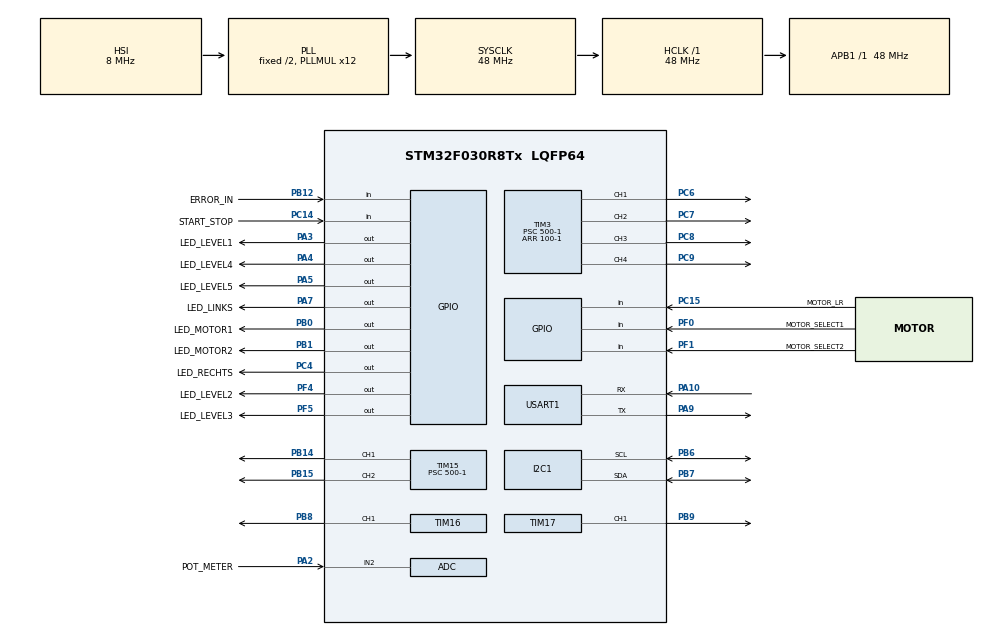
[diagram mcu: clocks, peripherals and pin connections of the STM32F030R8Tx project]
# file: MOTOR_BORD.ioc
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ADC.Resolution=ADC_RESOLUTION_8B
Mcu.Family=STM32F0
Mcu.Name=STM32F030R8Tx
Mcu.Package=LQFP64
PA10.Mode=Asynchronous
PA10.Signal=USART1_RX
PA13.Mode=Serial_Wire
PA13.Signal=SYS_SWDIO
PA14.Mode=Serial_Wire
PA14.Signal=SYS_SWCLK
PA2.GPIO_Label=POT_METER
PA2.Mode=IN2
PA2.Signal=ADC_IN2
PA3.GPIO_Label=LED_LEVEL1
PA3.Signal=GPIO_Output
PA4.GPIO_Label=LED_LEVEL4
PA4.Signal=GPIO_Output
PA5.GPIO_Label=LED_LEVEL5
PA5.Signal=GPIO_Output
PA7.GPIO_Label=LED_LINKS
PA7.Signal=GPIO_Output
PA9.Mode=Asynchronous
PA9.Signal=USART1_TX
PB0.GPIO_Label=LED_MOTOR1
PB0.Signal=GPIO_Output
PB1.GPIO_Label=LED_MOTOR2
PB1.Signal=GPIO_Output
PB12.GPIO_Label=ERROR_IN
PB12.Signal=GPIO_Input
PB14.Signal=S_TIM15_CH1
PB15.Signal=S_TIM15_CH2
PB6.Mode=I2C
PB6.Signal=I2C1_SCL
PB7.Mode=I2C
PB7.Signal=I2C1_SDA
PB8.Signal=S_TIM16_CH1
PB9.Signal=S_TIM17_CH1
PC14-OSC32_IN.GPIO_Label=START_STOP
PC14-OSC32_IN.Signal=GPIO_Input
PC15-OSC32_OUT.GPIO_Label=MOTOR_LR
PC15-OSC32_OUT.Signal=GPIO_Input
PC4.GPIO_Label=LED_RECHTS
PC4.Signal=GPIO_Output
PC6.Signal=S_TIM3_CH1
PC7.Signal=S_TIM3_CH2
PC8.Signal=S_TIM3_CH3
PC9.Signal=S_TIM3_CH4
PF0-OSC_IN.GPIO_Label=MOTOR_SELECT1
PF0-OSC_IN.Signal=GPIO_Input
PF1-OSC_OUT.GPIO_Label=MOTOR_SELECT2
PF1-OSC_OUT.Signal=GPIO_Input
PF4.GPIO_Label=LED_LEVEL2
PF4.Signal=GPIO_Output
PF5.GPIO_Label=LED_LEVEL3
PF5.Signal=GPIO_Output
ProjectManager.HeapSize=0x200
ProjectManager.StackSize=0x400
ProjectManager.TargetToolchain=STM32CubeIDE
RCC.AHBFreq_Value=48000000
RCC.APB1Freq_Value=48000000
RCC.APB1TimFreq_Value=48000000
RCC.HCLKFreq_Value=48000000
RCC.PLLMUL=RCC_PLL_MUL12
RCC.SYSCLKFreq_VALUE=48000000
RCC.SYSCLKSource=RCC_SYSCLKSOURCE_PLLCLK
SH.S_TIM15_CH1.0=TIM15_CH1,PWM Generation1 CH1
SH.S_TIM15_CH2.0=TIM15_CH2,PWM Generation2 CH2
SH.S_TIM16_CH1.0=TIM16_CH1,PWM Generation1 CH1
SH.S_TIM17_CH1.0=TIM17_CH1,PWM Generation1 CH1
SH.S_TIM3_CH1.0=TIM3_CH1,PWM Generation1 CH1
SH.S_TIM3_CH2.0=TIM3_CH2,PWM Generation2 CH2
SH.S_TIM3_CH3.0=TIM3_CH3,PWM Generation3 CH3
SH.S_TIM3_CH4.0=TIM3_CH4,PWM Generation4 CH4
TIM14.Period=0xffff-1
TIM14.Prescaler=1-1
TIM15.Channel-PWM\ Generation1\ CH1=TIM_CHANNEL_1
TIM15.Channel-PWM\ Generation2\ CH2=TIM_CHANNEL_2
TIM15.Period=100-1
TIM15.Prescaler=500-1
TIM16.Channel=TIM_CHANNEL_1
TIM16.Period=100-1
TIM16.Prescaler=500-1
TIM17.Channel=TIM_CHANNEL_1
TIM17.Period=100-1
TIM17.Prescaler=500-1
TIM3.Channel-PWM\ Generation1\ CH1=TIM_CHANNEL_1
TIM3.Channel-PWM\ Generation2\ CH2=TIM_CHANNEL_2
TIM3.Channel-PWM\ Generation3\ CH3=TIM_CHANNEL_3
TIM3.Channel-PWM\ Generation4\ CH4=TIM_CHANNEL_4
TIM3.Period=100-1
TIM3.Prescaler=500-1
USART1.VirtualMode-Asynchronous=VM_ASYNC
VP_TIM14_VS_ClockSourceINT.Mode=Enable_Timer
VP_TIM16_VS_ClockSourceINT.Mode=Enable_Timer
VP_TIM17_VS_ClockSourceINT.Mode=Enable_Timer
board=custom

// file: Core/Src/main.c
/* USER CODE BEGIN Header */
/**
 ******************************************************************************
 * @file           : main.c
 * @brief          : Main program body
 ******************************************************************************
 * @attention
 *
 * Copyright (c) 2024 STMicroelectronics.
 * All rights reserved.
 *
 * This software is licensed under terms that can be found in the LICENSE file
 * in the root directory of this software component.
 * If no LICENSE file comes with this software, it is provided AS-IS.
 *
 ******************************************************************************
 */
/* USER CODE END Header */
#include "main.h"

/* USER CODE BEGIN Includes */
#include <stdio.h>
#include "string.h"
#include "WVR/motor_bord.h"
#include "WVR/uart_msg.h"
/* USER CODE END Includes */

ADC_HandleTypeDef hadc;

I2C_HandleTypeDef hi2c1;

TIM_HandleTypeDef htim3;
TIM_HandleTypeDef htim14;
TIM_HandleTypeDef htim15;
TIM_HandleTypeDef htim16;
TIM_HandleTypeDef htim17;

UART_HandleTypeDef huart1;

void SystemClock_Config(void);
static void MX_GPIO_Init(void);
static void MX_ADC_Init(void);
static void MX_I2C1_Init(void);
static void MX_USART1_UART_Init(void);
static void MX_TIM3_Init(void);
static void MX_TIM15_Init(void);
static void MX_TIM14_Init(void);
static void MX_TIM16_Init(void);
static void MX_TIM17_Init(void);
/* USER CODE BEGIN PFP */
void usDelay(uint16_t);
/* USER CODE END PFP */

/* USER CODE BEGIN 0 */
//Variables
GPIO_PinState  startStop = 0;
GPIO_PinState  startStopPrev = 0;

GPIO_PinState  motorSelect1 = 0;
GPIO_PinState  motorSelect2 = 0;

GPIO_PinState motorDirection = 0;

uint32_t potValue = 0;

GPIO_PinState errorIn = 0;

char uartBuffer[100];
/* USER CODE END 0 */

int main(void)
{

  /* MCU Configuration--------------------------------------------------------*/

  /* Reset of all peripherals, Initializes the Flash interface and the Systick. */
  HAL_Init();

  /* Configure the system clock */
  SystemClock_Config();

  /* Initialize all configured peripherals */
  MX_GPIO_Init();
  MX_ADC_Init();
  MX_I2C1_Init();
  MX_USART1_UART_Init();
  MX_TIM3_Init();
  MX_TIM15_Init();
  MX_TIM14_Init();
  MX_TIM16_Init();
  MX_TIM17_Init();
  /* USER CODE BEGIN 2 */

	//double check this when you have the PCB's
	htim14.Init.Prescaler = 47;
	htim14.Init.CounterMode = TIM_COUNTERMODE_UP;
	htim14.Init.Period = 0xFFFF;  // Maximum period to avoid overflow for long delays
	HAL_TIM_Base_Init(&htim14);
	HAL_TIM_Base_Start(&htim14);  // Start Timer 6

	//print NMBS logo
	printLogoNMBS();

  /* USER CODE END 2 */

  /* Infinite loop */
	while (1)
	{

    /* USER CODE BEGIN 3 */

		//START STOP
		startStop = HAL_GPIO_ReadPin(START_STOP_GPIO_Port, START_STOP_Pin);

		ReadADCValue(&potValue);
		uint8_t potValuePercent = (uint8_t)(potValue / 2.56);

		motorDirection = HAL_GPIO_ReadPin(MOTOR_LR_GPIO_Port, MOTOR_LR_Pin);

		motorSelect1 = HAL_GPIO_ReadPin(MOTOR_SELECT1_GPIO_Port, MOTOR_SELECT1_Pin);
		motorSelect2 = HAL_GPIO_ReadPin(MOTOR_SELECT2_GPIO_Port, MOTOR_SELECT2_Pin);

		SetLevelLEDs((uint8_t)potValue);

		//start / stop
		if(startStop != startStopPrev){
			//Starting
			if(startStop){
				if(motorSelect2){
					//DC
					HAL_TIM_PWM_Start(&htim3, TIM_CHANNEL_1);
					HAL_TIM_PWM_Start(&htim3, TIM_CHANNEL_2);

					HAL_TIM_PWM_Start(&htim3, TIM_CHANNEL_3);
					HAL_TIM_PWM_Start(&htim3, TIM_CHANNEL_4);

					HAL_TIM_PWM_Start(&htim15, TIM_CHANNEL_1);
					HAL_TIM_PWM_Start(&htim15, TIM_CHANNEL_2);
				}
				else if(motorSelect1){
					//ASYNC
					HAL_TIM_PWM_Start(&htim3, TIM_CHANNEL_3);
					HAL_TIM_PWM_Start(&htim3, TIM_CHANNEL_4);

					usDelay(333);
					//HAL_TIM_PWM_Start(&htim3, TIM_CHANNEL_1);
					//HAL_TIM_PWM_Start(&htim3, TIM_CHANNEL_2);
					//FIX for 3 phase use TIM16 and TIM17
					HAL_TIM_PWM_Start(&htim16, TIM_CHANNEL_1);
					HAL_TIM_PWM_Start(&htim17, TIM_CHANNEL_1);

					usDelay(333);
					HAL_TIM_PWM_Start(&htim15, TIM_CHANNEL_1);
					HAL_TIM_PWM_Start(&htim15, TIM_CHANNEL_2);

				}
			}
			else{
				HAL_TIM_PWM_Stop(&htim3, TIM_CHANNEL_1);
				HAL_TIM_PWM_Stop(&htim3, TIM_CHANNEL_2);
				HAL_TIM_PWM_Stop(&htim3, TIM_CHANNEL_3);
				HAL_TIM_PWM_Stop(&htim3, TIM_CHANNEL_4);
				HAL_TIM_PWM_Stop(&htim15, TIM_CHANNEL_1);
				HAL_TIM_PWM_Stop(&htim15, TIM_CHANNEL_2);

				HAL_TIM_PWM_Stop(&htim16, TIM_CHANNEL_1);
				HAL_TIM_PWM_Stop(&htim17, TIM_CHANNEL_1);
			}
		}
		startStopPrev = startStop;

		if (startStop != GPIO_PIN_RESET) {
			// If ASYNC motor selected
			if (motorSelect1 == GPIO_PIN_SET && motorSelect2 == GPIO_PIN_RESET) {
				//set speed and direction
				SetMotorSpeedAndDirection_3Phase(potValuePercent, motorDirection);

				// Update LEDs
				HAL_GPIO_WritePin(LED_MOTOR1_GPIO_Port, LED_MOTOR1_Pin, GPIO_PIN_SET);
				HAL_GPIO_WritePin(LED_MOTOR2_GPIO_Port, LED_MOTOR2_Pin, GPIO_PIN_RESET);
			}
			// If DC motor selected
			else if (motorSelect1 == GPIO_PIN_RESET && motorSelect2 == GPIO_PIN_SET) {
				//set speed and direction
				SetMotorSpeedAndDirection_DC(potValuePercent, motorDirection, 1);
				SetMotorSpeedAndDirection_DC(potValuePercent, motorDirection, 2);
				SetMotorSpeedAndDirection_DC(potValuePercent, motorDirection, 3);

				// Update LEDs
				HAL_GPIO_WritePin(LED_MOTOR1_GPIO_Port, LED_MOTOR1_Pin, GPIO_PIN_RESET);
				HAL_GPIO_WritePin(LED_MOTOR2_GPIO_Port, LED_MOTOR2_Pin, GPIO_PIN_SET);
			}

			sprintf(uartBuffer, "\r\nMOTOR SELECT 1 = %d\tMOTOR SELECT 2 = %d\tWith speed of %d%% \r\n", motorSelect1, motorSelect2, potValuePercent);
			HAL_UART_Transmit(&huart1, (uint8_t *)uartBuffer, strlen(uartBuffer), HAL_MAX_DELAY);
		}

		//-----------------------------------------------------------------------------------------------------

		//READ ERROR IN
		errorIn = HAL_GPIO_ReadPin(ERROR_IN_GPIO_Port, ERROR_IN_Pin);
		//TODO ;)
	}
  /* USER CODE END 3 */
}

void SystemClock_Config(void)
{
  RCC_OscInitTypeDef RCC_OscInitStruct = {0};
  RCC_ClkInitTypeDef RCC_ClkInitStruct = {0};
  RCC_PeriphCLKInitTypeDef PeriphClkInit = {0};

  /** Initializes the RCC Oscillators according to the specified parameters
  * in the RCC_OscInitTypeDef structure.
  */
  RCC_OscInitStruct.OscillatorType = RCC_OSCILLATORTYPE_HSI|RCC_OSCILLATORTYPE_HSI14;
  RCC_OscInitStruct.HSIState = RCC_HSI_ON;
  RCC_OscInitStruct.HSI14State = RCC_HSI14_ON;
  RCC_OscInitStruct.HSICalibrationValue = RCC_HSICALIBRATION_DEFAULT;
  RCC_OscInitStruct.HSI14CalibrationValue = 16;
  RCC_OscInitStruct.PLL.PLLState = RCC_PLL_ON;
  RCC_OscInitStruct.PLL.PLLSource = RCC_PLLSOURCE_HSI;
  RCC_OscInitStruct.PLL.PLLMUL = RCC_PLL_MUL12;
  RCC_OscInitStruct.PLL.PREDIV = RCC_PREDIV_DIV1;
  if (HAL_RCC_OscConfig(&RCC_OscInitStruct) != HAL_OK)
  {
    Error_Handler();
  }

  /** Initializes the CPU, AHB and APB buses clocks
  */
  RCC_ClkInitStruct.ClockType = RCC_CLOCKTYPE_HCLK|RCC_CLOCKTYPE_SYSCLK
                              |RCC_CLOCKTYPE_PCLK1;
  RCC_ClkInitStruct.SYSCLKSource = RCC_SYSCLKSOURCE_PLLCLK;
  RCC_ClkInitStruct.AHBCLKDivider = RCC_SYSCLK_DIV1;
  RCC_ClkInitStruct.APB1CLKDivider = RCC_HCLK_DIV1;

  if (HAL_RCC_ClockConfig(&RCC_ClkInitStruct, FLASH_LATENCY_1) != HAL_OK)
  {
    Error_Handler();
  }
  PeriphClkInit.PeriphClockSelection = RCC_PERIPHCLK_USART1|RCC_PERIPHCLK_I2C1;
  PeriphClkInit.Usart1ClockSelection = RCC_USART1CLKSOURCE_PCLK1;
  PeriphClkInit.I2c1ClockSelection = RCC_I2C1CLKSOURCE_HSI;
  if (HAL_RCCEx_PeriphCLKConfig(&PeriphClkInit) != HAL_OK)
  {
    Error_Handler();
  }
}

static void MX_ADC_Init(void)
{

  ADC_ChannelConfTypeDef sConfig = {0};

  /** Configure the global features of the ADC (Clock, Resolution, Data Alignment and number of conversion)
  */
  hadc.Instance = ADC1;
  hadc.Init.ClockPrescaler = ADC_CLOCK_ASYNC_DIV1;
  hadc.Init.Resolution = ADC_RESOLUTION_8B;
  hadc.Init.DataAlign = ADC_DATAALIGN_RIGHT;
  hadc.Init.ScanConvMode = ADC_SCAN_DIRECTION_FORWARD;
  hadc.Init.EOCSelection = ADC_EOC_SINGLE_CONV;
  hadc.Init.LowPowerAutoWait = DISABLE;
  hadc.Init.LowPowerAutoPowerOff = DISABLE;
  hadc.Init.ContinuousConvMode = DISABLE;
  hadc.Init.DiscontinuousConvMode = DISABLE;
  hadc.Init.ExternalTrigConv = ADC_SOFTWARE_START;
  hadc.Init.ExternalTrigConvEdge = ADC_EXTERNALTRIGCONVEDGE_NONE;
  hadc.Init.DMAContinuousRequests = DISABLE;
  hadc.Init.Overrun = ADC_OVR_DATA_PRESERVED;
  if (HAL_ADC_Init(&hadc) != HAL_OK)
  {
    Error_Handler();
  }

  /** Configure for the selected ADC regular channel to be converted.
  */
  sConfig.Channel = ADC_CHANNEL_2;
  sConfig.Rank = ADC_RANK_CHANNEL_NUMBER;
  sConfig.SamplingTime = ADC_SAMPLETIME_1CYCLE_5;
  if (HAL_ADC_ConfigChannel(&hadc, &sConfig) != HAL_OK)
  {
    Error_Handler();
  }

}

static void MX_I2C1_Init(void)
{

  hi2c1.Instance = I2C1;
  hi2c1.Init.Timing = 0x2000090E;
  hi2c1.Init.OwnAddress1 = 0;
  hi2c1.Init.AddressingMode = I2C_ADDRESSINGMODE_7BIT;
  hi2c1.Init.DualAddressMode = I2C_DUALADDRESS_DISABLE;
  hi2c1.Init.OwnAddress2 = 0;
  hi2c1.Init.OwnAddress2Masks = I2C_OA2_NOMASK;
  hi2c1.Init.GeneralCallMode = I2C_GENERALCALL_DISABLE;
  hi2c1.Init.NoStretchMode = I2C_NOSTRETCH_DISABLE;
  if (HAL_I2C_Init(&hi2c1) != HAL_OK)
  {
    Error_Handler();
  }

  /** Configure Analogue filter
  */
  if (HAL_I2CEx_ConfigAnalogFilter(&hi2c1, I2C_ANALOGFILTER_ENABLE) != HAL_OK)
  {
    Error_Handler();
  }

  /** Configure Digital filter
  */
  if (HAL_I2CEx_ConfigDigitalFilter(&hi2c1, 0) != HAL_OK)
  {
    Error_Handler();
  }

}

static void MX_TIM3_Init(void)
{

  TIM_MasterConfigTypeDef sMasterConfig = {0};
  TIM_OC_InitTypeDef sConfigOC = {0};

  htim3.Instance = TIM3;
  htim3.Init.Prescaler = 500-1;
  htim3.Init.CounterMode = TIM_COUNTERMODE_UP;
  htim3.Init.Period = 100-1;
  htim3.Init.ClockDivision = TIM_CLOCKDIVISION_DIV1;
  htim3.Init.AutoReloadPreload = TIM_AUTORELOAD_PRELOAD_DISABLE;
  if (HAL_TIM_PWM_Init(&htim3) != HAL_OK)
  {
    Error_Handler();
  }
  sMasterConfig.MasterOutputTrigger = TIM_TRGO_RESET;
  sMasterConfig.MasterSlaveMode = TIM_MASTERSLAVEMODE_DISABLE;
  if (HAL_TIMEx_MasterConfigSynchronization(&htim3, &sMasterConfig) != HAL_OK)
  {
    Error_Handler();
  }
  sConfigOC.OCMode = TIM_OCMODE_PWM1;
  sConfigOC.Pulse = 0;
  sConfigOC.OCPolarity = TIM_OCPOLARITY_HIGH;
  sConfigOC.OCFastMode = TIM_OCFAST_DISABLE;
  if (HAL_TIM_PWM_ConfigChannel(&htim3, &sConfigOC, TIM_CHANNEL_1) != HAL_OK)
  {
    Error_Handler();
  }
  if (HAL_TIM_PWM_ConfigChannel(&htim3, &sConfigOC, TIM_CHANNEL_2) != HAL_OK)
  {
    Error_Handler();
  }
  if (HAL_TIM_PWM_ConfigChannel(&htim3, &sConfigOC, TIM_CHANNEL_3) != HAL_OK)
  {
    Error_Handler();
  }
  if (HAL_TIM_PWM_ConfigChannel(&htim3, &sConfigOC, TIM_CHANNEL_4) != HAL_OK)
  {
    Error_Handler();
  }
  HAL_TIM_MspPostInit(&htim3);

}

static void MX_TIM14_Init(void)
{

  htim14.Instance = TIM14;
  htim14.Init.Prescaler = 1-1;
  htim14.Init.CounterMode = TIM_COUNTERMODE_UP;
  htim14.Init.Period = 0xffff-1;
  htim14.Init.ClockDivision = TIM_CLOCKDIVISION_DIV1;
  htim14.Init.AutoReloadPreload = TIM_AUTORELOAD_PRELOAD_DISABLE;
  if (HAL_TIM_Base_Init(&htim14) != HAL_OK)
  {
    Error_Handler();
  }

}

static void MX_TIM15_Init(void)
{

  TIM_MasterConfigTypeDef sMasterConfig = {0};
  TIM_OC_InitTypeDef sConfigOC = {0};
  TIM_BreakDeadTimeConfigTypeDef sBreakDeadTimeConfig = {0};

  htim15.Instance = TIM15;
  htim15.Init.Prescaler = 500-1;
  htim15.Init.CounterMode = TIM_COUNTERMODE_UP;
  htim15.Init.Period = 100-1;
  htim15.Init.ClockDivision = TIM_CLOCKDIVISION_DIV1;
  htim15.Init.RepetitionCounter = 0;
  htim15.Init.AutoReloadPreload = TIM_AUTORELOAD_PRELOAD_DISABLE;
  if (HAL_TIM_PWM_Init(&htim15) != HAL_OK)
  {
    Error_Handler();
  }
  sMasterConfig.MasterOutputTrigger = TIM_TRGO_RESET;
  sMasterConfig.MasterSlaveMode = TIM_MASTERSLAVEMODE_DISABLE;
  if (HAL_TIMEx_MasterConfigSynchronization(&htim15, &sMasterConfig) != HAL_OK)
  {
    Error_Handler();
  }
  sConfigOC.OCMode = TIM_OCMODE_PWM1;
  sConfigOC.Pulse = 0;
  sConfigOC.OCPolarity = TIM_OCPOLARITY_HIGH;
  sConfigOC.OCNPolarity = TIM_OCNPOLARITY_HIGH;
  sConfigOC.OCFastMode = TIM_OCFAST_DISABLE;
  sConfigOC.OCIdleState = TIM_OCIDLESTATE_RESET;
  sConfigOC.OCNIdleState = TIM_OCNIDLESTATE_RESET;
  if (HAL_TIM_PWM_ConfigChannel(&htim15, &sConfigOC, TIM_CHANNEL_1) != HAL_OK)
  {
    Error_Handler();
  }
  if (HAL_TIM_PWM_ConfigChannel(&htim15, &sConfigOC, TIM_CHANNEL_2) != HAL_OK)
  {
    Error_Handler();
  }
  sBreakDeadTimeConfig.OffStateRunMode = TIM_OSSR_DISABLE;
  sBreakDeadTimeConfig.OffStateIDLEMode = TIM_OSSI_DISABLE;
  sBreakDeadTimeConfig.LockLevel = TIM_LOCKLEVEL_OFF;
  sBreakDeadTimeConfig.DeadTime = 0;
  sBreakDeadTimeConfig.BreakState = TIM_BREAK_DISABLE;
  sBreakDeadTimeConfig.BreakPolarity = TIM_BREAKPOLARITY_HIGH;
  sBreakDeadTimeConfig.AutomaticOutput = TIM_AUTOMATICOUTPUT_DISABLE;
  if (HAL_TIMEx_ConfigBreakDeadTime(&htim15, &sBreakDeadTimeConfig) != HAL_OK)
  {
    Error_Handler();
  }
  HAL_TIM_MspPostInit(&htim15);

}

static void MX_TIM16_Init(void)
{

  TIM_OC_InitTypeDef sConfigOC = {0};
  TIM_BreakDeadTimeConfigTypeDef sBreakDeadTimeConfig = {0};

  htim16.Instance = TIM16;
  htim16.Init.Prescaler = 500-1;
  htim16.Init.CounterMode = TIM_COUNTERMODE_UP;
  htim16.Init.Period = 100-1;
  htim16.Init.ClockDivision = TIM_CLOCKDIVISION_DIV1;
  htim16.Init.RepetitionCounter = 0;
  htim16.Init.AutoReloadPreload = TIM_AUTORELOAD_PRELOAD_DISABLE;
  if (HAL_TIM_Base_Init(&htim16) != HAL_OK)
  {
    Error_Handler();
  }
  if (HAL_TIM_PWM_Init(&htim16) != HAL_OK)
  {
    Error_Handler();
  }
  sConfigOC.OCMode = TIM_OCMODE_PWM1;
  sConfigOC.Pulse = 0;
  sConfigOC.OCPolarity = TIM_OCPOLARITY_HIGH;
  sConfigOC.OCNPolarity = TIM_OCNPOLARITY_HIGH;
  sConfigOC.OCFastMode = TIM_OCFAST_DISABLE;
  sConfigOC.OCIdleState = TIM_OCIDLESTATE_RESET;
  sConfigOC.OCNIdleState = TIM_OCNIDLESTATE_RESET;
  if (HAL_TIM_PWM_ConfigChannel(&htim16, &sConfigOC, TIM_CHANNEL_1) != HAL_OK)
  {
    Error_Handler();
  }
  sBreakDeadTimeConfig.OffStateRunMode = TIM_OSSR_DISABLE;
  sBreakDeadTimeConfig.OffStateIDLEMode = TIM_OSSI_DISABLE;
  sBreakDeadTimeConfig.LockLevel = TIM_LOCKLEVEL_OFF;
  sBreakDeadTimeConfig.DeadTime = 0;
  sBreakDeadTimeConfig.BreakState = TIM_BREAK_DISABLE;
  sBreakDeadTimeConfig.BreakPolarity = TIM_BREAKPOLARITY_HIGH;
  sBreakDeadTimeConfig.AutomaticOutput = TIM_AUTOMATICOUTPUT_DISABLE;
  if (HAL_TIMEx_ConfigBreakDeadTime(&htim16, &sBreakDeadTimeConfig) != HAL_OK)
  {
    Error_Handler();
  }
  HAL_TIM_MspPostInit(&htim16);

}

static void MX_TIM17_Init(void)
{

  TIM_OC_InitTypeDef sConfigOC = {0};
  TIM_BreakDeadTimeConfigTypeDef sBreakDeadTimeConfig = {0};

  htim17.Instance = TIM17;
  htim17.Init.Prescaler = 500-1;
  htim17.Init.CounterMode = TIM_COUNTERMODE_UP;
  htim17.Init.Period = 100-1;
  htim17.Init.ClockDivision = TIM_CLOCKDIVISION_DIV1;
  htim17.Init.RepetitionCounter = 0;
  htim17.Init.AutoReloadPreload = TIM_AUTORELOAD_PRELOAD_DISABLE;
  if (HAL_TIM_Base_Init(&htim17) != HAL_OK)
  {
    Error_Handler();
  }
  if (HAL_TIM_PWM_Init(&htim17) != HAL_OK)
  {
    Error_Handler();
  }
  sConfigOC.OCMode = TIM_OCMODE_PWM1;
  sConfigOC.Pulse = 0;
  sConfigOC.OCPolarity = TIM_OCPOLARITY_HIGH;
  sConfigOC.OCNPolarity = TIM_OCNPOLARITY_HIGH;
  sConfigOC.OCFastMode = TIM_OCFAST_DISABLE;
  sConfigOC.OCIdleState = TIM_OCIDLESTATE_RESET;
  sConfigOC.OCNIdleState = TIM_OCNIDLESTATE_RESET;
  if (HAL_TIM_PWM_ConfigChannel(&htim17, &sConfigOC, TIM_CHANNEL_1) != HAL_OK)
  {
    Error_Handler();
  }
  sBreakDeadTimeConfig.OffStateRunMode = TIM_OSSR_DISABLE;
  sBreakDeadTimeConfig.OffStateIDLEMode = TIM_OSSI_DISABLE;
  sBreakDeadTimeConfig.LockLevel = TIM_LOCKLEVEL_OFF;
  sBreakDeadTimeConfig.DeadTime = 0;
  sBreakDeadTimeConfig.BreakState = TIM_BREAK_DISABLE;
  sBreakDeadTimeConfig.BreakPolarity = TIM_BREAKPOLARITY_HIGH;
  sBreakDeadTimeConfig.AutomaticOutput = TIM_AUTOMATICOUTPUT_DISABLE;
  if (HAL_TIMEx_ConfigBreakDeadTime(&htim17, &sBreakDeadTimeConfig) != HAL_OK)
  {
    Error_Handler();
  }
  HAL_TIM_MspPostInit(&htim17);

}

static void MX_USART1_UART_Init(void)
{

  huart1.Instance = USART1;
  huart1.Init.BaudRate = 38400;
  huart1.Init.WordLength = UART_WORDLENGTH_8B;
  huart1.Init.StopBits = UART_STOPBITS_1;
  huart1.Init.Parity = UART_PARITY_NONE;
  huart1.Init.Mode = UART_MODE_TX_RX;
  huart1.Init.HwFlowCtl = UART_HWCONTROL_NONE;
  huart1.Init.OverSampling = UART_OVERSAMPLING_16;
  huart1.Init.OneBitSampling = UART_ONE_BIT_SAMPLE_DISABLE;
  huart1.AdvancedInit.AdvFeatureInit = UART_ADVFEATURE_NO_INIT;
  if (HAL_UART_Init(&huart1) != HAL_OK)
  {
    Error_Handler();
  }

}

static void MX_GPIO_Init(void)
{
  GPIO_InitTypeDef GPIO_InitStruct = {0};

  /* GPIO Ports Clock Enable */
  __HAL_RCC_GPIOC_CLK_ENABLE();
  __HAL_RCC_GPIOF_CLK_ENABLE();
  __HAL_RCC_GPIOA_CLK_ENABLE();
  __HAL_RCC_GPIOB_CLK_ENABLE();

  /*Configure GPIO pin Output Level */
  HAL_GPIO_WritePin(GPIOA, LED_LEVEL1_Pin|LED_LEVEL4_Pin|LED_LEVEL5_Pin|LED_LINKS_Pin, GPIO_PIN_RESET);

  /*Configure GPIO pin Output Level */
  HAL_GPIO_WritePin(GPIOF, LED_LEVEL2_Pin|LED_LEVEL3_Pin, GPIO_PIN_RESET);

  /*Configure GPIO pin Output Level */
  HAL_GPIO_WritePin(LED_RECHTS_GPIO_Port, LED_RECHTS_Pin, GPIO_PIN_RESET);

  /*Configure GPIO pin Output Level */
  HAL_GPIO_WritePin(GPIOB, LED_MOTOR1_Pin|LED_MOTOR2_Pin, GPIO_PIN_RESET);

  /*Configure GPIO pins : START_STOP_Pin MOTOR_LR_Pin */
  GPIO_InitStruct.Pin = START_STOP_Pin|MOTOR_LR_Pin;
  GPIO_InitStruct.Mode = GPIO_MODE_INPUT;
  GPIO_InitStruct.Pull = GPIO_NOPULL;
  HAL_GPIO_Init(GPIOC, &GPIO_InitStruct);

  /*Configure GPIO pins : MOTOR_SELECT1_Pin MOTOR_SELECT2_Pin */
  GPIO_InitStruct.Pin = MOTOR_SELECT1_Pin|MOTOR_SELECT2_Pin;
  GPIO_InitStruct.Mode = GPIO_MODE_INPUT;
  GPIO_InitStruct.Pull = GPIO_NOPULL;
  HAL_GPIO_Init(GPIOF, &GPIO_InitStruct);

  /*Configure GPIO pins : LED_LEVEL1_Pin LED_LEVEL4_Pin LED_LEVEL5_Pin LED_LINKS_Pin */
  GPIO_InitStruct.Pin = LED_LEVEL1_Pin|LED_LEVEL4_Pin|LED_LEVEL5_Pin|LED_LINKS_Pin;
  GPIO_InitStruct.Mode = GPIO_MODE_OUTPUT_PP;
  GPIO_InitStruct.Pull = GPIO_NOPULL;
  GPIO_InitStruct.Speed = GPIO_SPEED_FREQ_LOW;
  HAL_GPIO_Init(GPIOA, &GPIO_InitStruct);

  /*Configure GPIO pins : LED_LEVEL2_Pin LED_LEVEL3_Pin */
  GPIO_InitStruct.Pin = LED_LEVEL2_Pin|LED_LEVEL3_Pin;
  GPIO_InitStruct.Mode = GPIO_MODE_OUTPUT_PP;
  GPIO_InitStruct.Pull = GPIO_NOPULL;
  GPIO_InitStruct.Speed = GPIO_SPEED_FREQ_LOW;
  HAL_GPIO_Init(GPIOF, &GPIO_InitStruct);

  /*Configure GPIO pin : LED_RECHTS_Pin */
  GPIO_InitStruct.Pin = LED_RECHTS_Pin;
  GPIO_InitStruct.Mode = GPIO_MODE_OUTPUT_PP;
  GPIO_InitStruct.Pull = GPIO_NOPULL;
  GPIO_InitStruct.Speed = GPIO_SPEED_FREQ_LOW;
  HAL_GPIO_Init(LED_RECHTS_GPIO_Port, &GPIO_InitStruct);

  /*Configure GPIO pins : LED_MOTOR1_Pin LED_MOTOR2_Pin */
  GPIO_InitStruct.Pin = LED_MOTOR1_Pin|LED_MOTOR2_Pin;
  GPIO_InitStruct.Mode = GPIO_MODE_OUTPUT_PP;
  GPIO_InitStruct.Pull = GPIO_NOPULL;
  GPIO_InitStruct.Speed = GPIO_SPEED_FREQ_LOW;
  HAL_GPIO_Init(GPIOB, &GPIO_InitStruct);

  /*Configure GPIO pin : ERROR_IN_Pin */
  GPIO_InitStruct.Pin = ERROR_IN_Pin;
  GPIO_InitStruct.Mode = GPIO_MODE_INPUT;
  GPIO_InitStruct.Pull = GPIO_NOPULL;
  HAL_GPIO_Init(ERROR_IN_GPIO_Port, &GPIO_InitStruct);

}

/* USER CODE BEGIN 4 */

void usDelay(uint16_t delay)
{
	__HAL_TIM_SET_COUNTER(&htim14, 0);

	while (__HAL_TIM_GET_COUNTER(&htim14) < delay);
}

/* USER CODE END 4 */

void Error_Handler(void)
{
	__disable_irq();
	while (1)
	{
	}
}
